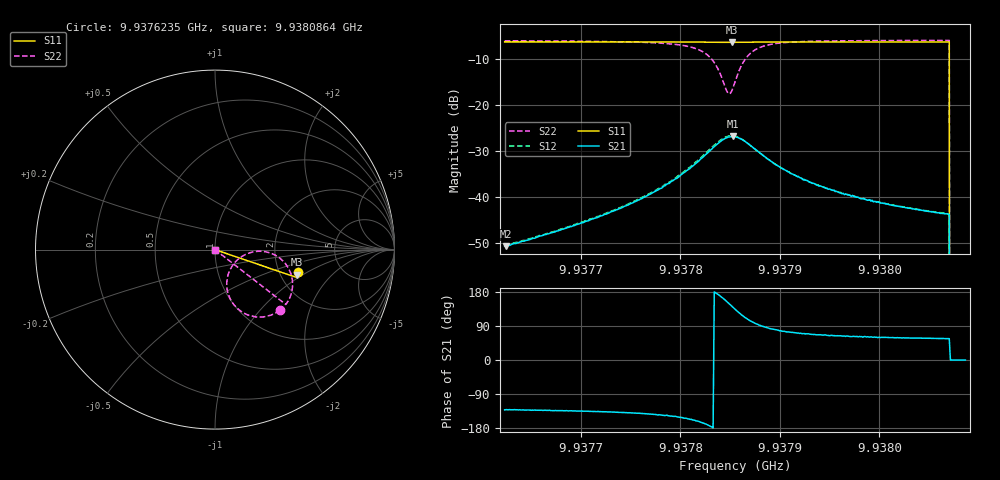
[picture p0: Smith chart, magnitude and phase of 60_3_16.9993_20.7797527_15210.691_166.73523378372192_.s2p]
#  HZ  S  RI  R  50.00
! Rohde & Schwarz Vector Network Analyzer
! Rohde-Schwarz,ZNB20-2Port,1311601062101988,3.16
! Created: UTC 3/20/2024, 10:54:46 PM
! freq[Hz]  re:S11  im:S11  re:S21  im:S21  re:S12  im:S12  re:S22  im:S22
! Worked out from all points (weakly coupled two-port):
!   401 points, 9.9376235 GHz to 9.9380864 GHz, reference 50 ohm
!   highest |S21| = -26.88 dB at 9.9378526 GHz (marker M1); lowest = -50.7 dB at 9.9376247 GHz (marker M2)
!   lowest |S11| = -6.5 dB at 9.9378515 GHz (marker M3), VSWR 2.81, Z = 122 - j44 ohm
!   |S11| at or under -10 dB: 9.9380702 GHz to end of sweep
!   |S22| runs from - to -6.0 dB; largest |S21 - S12| = 0.003
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9.93762351e9  0.4649 -0.1271  -0.00193 -0.00218  -0.00195 -0.00218  0.3618 -0.337
9.93762467e9  0.4649 -0.1273  -0.00191 -0.00219  -0.00198 -0.00219  0.3617 -0.3373
9.93770104e9  0.463 -0.1326  -0.00366 -0.00371  -0.00381 -0.0037  0.3421 -0.3508
9.93774154e9  0.4618 -0.1354  -0.00571 -0.00506  -0.00593 -0.00507  0.3215 -0.361
9.93777856e9  0.4605 -0.1383  -0.00979 -0.00704  -0.0102 -0.007  0.2835 -0.3729
9.93780634e9  0.4588 -0.1403  -0.0173 -0.00844  -0.018 -0.00819  0.2197 -0.3736
9.93782369e9  0.4573 -0.1414  -0.0267 -0.00621  -0.0281 -0.00538  0.1418 -0.3417
9.93783526e9  0.4558 -0.1415  -0.0358 0.00151  -0.0372 0.00309  0.0797 -0.2632
9.93784684e9  0.4548 -0.1403  -0.0393 0.0193  -0.0395 0.0219  0.0845 -0.111
9.93784915e9  0.4547 -0.1399  -0.038 0.0233  -0.0377 0.0261  0.1037 -0.0805
9.93785146e9  0.4549 -0.1394  -0.0359 0.0275  -0.0351 0.03  0.1291 -0.0536
9.93785262e9  0.455 -0.1394  -0.0346 0.0292  -0.0334 0.0316  0.1437 -0.0422
9.93785494e9  0.4551 -0.1391  -0.0313 0.0321  -0.0297 0.0345  0.1754 -0.0245
9.93786419e9  0.4566 -0.1388  -0.0163 0.0371  -0.0145 0.0378  0.3004 -0.0168
9.93787692e9  0.458 -0.1399  -0.00271 0.0318  -0.00132 0.0315  0.396 -0.0831
9.93790006e9  0.4586 -0.1425  0.00471 0.0205  0.00507 0.0204  0.4319 -0.1808
9.93793246e9  0.458 -0.1455  0.00537 0.013  0.00565 0.0128  0.4258 -0.2416
9.93796255e9  0.4573 -0.1478  0.0049 0.00962  0.00514 0.00947  0.4164 -0.2684
9.93800999e9  0.4561 -0.1512  0.0042 0.00704  0.00436 0.00705  0.4044 -0.2907
9.93806785e9  0.4545 -0.1551  0.00361 0.00545  0.0037 0.0054  0.3946 -0.3055
9.93807363e9  0 0  0 0  0 0  0 0
9.93808636e9  0 0  0 0  0 0  0 0
